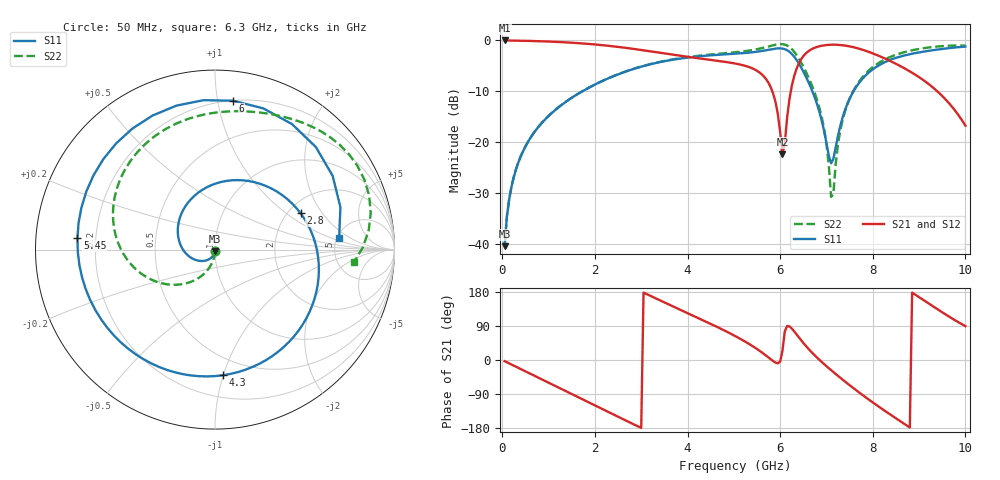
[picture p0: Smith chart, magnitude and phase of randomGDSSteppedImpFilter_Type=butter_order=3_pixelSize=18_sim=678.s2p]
! freq	dB(S11)	phase(S11)	dB(S12)	phase(S12)
!  dB(S21)	phase(S21)	dB(S22)	phase(S22)
!S-par simulation data
#  GHz  S  DB  R 50
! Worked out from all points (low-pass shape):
!   200 points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, 50 MHz to 10 GHz, reference 50 ohm
!   highest |S21| = -0.01 dB at 50 MHz (marker M1); lowest = -22.4 dB at 6.05 GHz (marker M2)
!   |S21| within 3 dB of the highest: start of sweep to 3.836 GHz; 6.509 GHz to 8.124 GHz (1.616 GHz wide, 22.1 % of centre)
!   lowest |S11| = -40.5 dB at 50 MHz (marker M3), VSWR 1.02, Z = 49.9 - j0.947 ohm
!   |S11| at or under -10 dB: start of sweep to 1.73 GHz; 6.696 GHz to 7.585 GHz (889.4 MHz wide, 12.5 % of centre)
!   |S22| runs from -40.4 to -0.7 dB; largest |S21 - S12| = 0
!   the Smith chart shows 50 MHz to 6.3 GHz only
!   S11 on the Smith chart (normalised r, x): 50 MHz: 1.00, -0.02; 2.8 GHz: 2.33, +1.29; 4.3 GHz: 0.36, -1.00; 5.45 GHz: 0.13, +0.04; 6 GHz: 0.20, +1.11; 6.3 GHz: 5.21, +1.31
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0.05  -40.45 -92.7  -0.01 -3.1  -0.01 -3.1  -40.41 -89.8
0.2  -28.71 -107.9  -0.03 -12.0  -0.03 -12.0  -28.65 -95.7
0.5  -20.85 -135.8  -0.08 -30.0  -0.08 -30.0  -20.80 -105.2
1.75  -9.89 111.3  -0.61 -104.9  -0.61 -104.9  -9.88 -142.7
2.8  -5.71 23.0  -1.63 -167.6  -1.63 -167.6  -5.68 -179.4
3.4  -4.27 -22.4  -2.42 157.7  -2.42 157.7  -4.22 157.0
4.3  -3.08 -86.2  -3.59 106.9  -3.59 106.9  -2.95 119.9
5.05  -2.60 -144.1  -4.58 61.8  -4.58 61.8  -2.30 87.8
5.45  -2.28 175.2  -5.72 33.1  -5.72 33.1  -1.81 69.1
5.75  -1.85 132.9  -8.36 6.4  -8.36 6.4  -1.19 51.8
6  -1.56 83.1  -18.00 -4.2  -18.00 -4.2  -0.72 30.5
6.05  -1.60 71.1  -22.41 24.7  -22.41 24.7  -0.73 25.1
6.3  -3.16 5.4  -7.10 76.1  -7.10 76.1  -2.19 -5.2
6.5  -6.11 -43.3  -3.10 45.0  -3.10 45.0  -5.15 -26.0
6.7  -10.10 -81.4  -1.63 17.9  -1.63 17.9  -9.20 -41.0
6.95  -17.86 -107.2  -0.96 -11.0  -0.96 -11.0  -17.43 -52.3
7.1  -24.15 -73.0  -0.85 -26.8  -0.85 -26.8  -30.77 -16.3
7.5  -11.47 -44.4  -1.17 -66.5  -1.17 -66.5  -11.45 75.9
8.35  -3.92 -132.7  -3.93 -141.6  -3.93 -141.6  -3.36 24.2
9.05  -2.28 150.6  -7.53 161.7  -7.53 161.7  -1.60 -13.4
9.55  -1.62 94.0  -11.39 122.0  -11.39 122.0  -1.09 -39.0
10  -1.21 46.8  -16.75 89.4  -16.75 89.4  -1.04 -63.5
